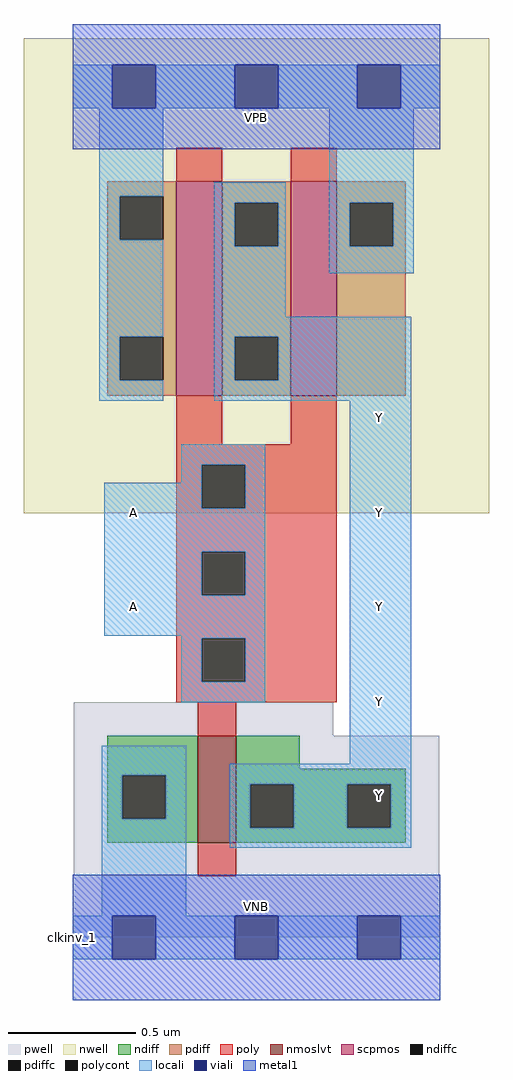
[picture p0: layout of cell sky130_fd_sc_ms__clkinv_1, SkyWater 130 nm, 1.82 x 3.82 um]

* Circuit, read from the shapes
.subckt sky130_fd_sc_ms__clkinv_1 A VGND VNB VPB VPWR Y
XM1 Y A VGND VNB sky130_fd_pr__nfet_01v8_lvt w=0.42 l=0.15
XM2 Y A VPWR VPB sky130_fd_pr__pfet_01v8 w=0.84 l=0.18 m=2
.ends

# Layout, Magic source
magic
tech sky130A
magscale 1 2
<< nwell >>
rect -38 332 326 704
<< pwell >>
rect 1 158 204 184
rect 1 49 287 158
rect 0 0 288 49
<< scpmos >>
rect 81 424 117 592
rect 171 424 207 592
<< nmoslvt >>
rect 98 74 128 158
<< ndiff >>
rect 27 127 98 158
rect 27 93 39 127
rect 73 93 98 127
rect 27 74 98 93
rect 128 132 178 158
rect 128 120 261 132
rect 128 86 139 120
rect 173 86 215 120
rect 249 86 261 120
rect 128 74 261 86
<< pdiff >>
rect 27 580 81 592
rect 27 546 37 580
rect 71 546 81 580
rect 27 470 81 546
rect 27 436 37 470
rect 71 436 81 470
rect 27 424 81 436
rect 117 575 171 592
rect 117 541 127 575
rect 161 541 171 575
rect 117 470 171 541
rect 117 436 127 470
rect 161 436 171 470
rect 117 424 171 436
rect 207 575 261 592
rect 207 541 217 575
rect 251 541 261 575
rect 207 424 261 541
<< ndiffc >>
rect 39 93 73 127
rect 139 86 173 120
rect 215 86 249 120
<< pdiffc >>
rect 37 546 71 580
rect 37 436 71 470
rect 127 541 161 575
rect 127 436 161 470
rect 217 541 251 575
<< poly >>
rect 81 592 117 618
rect 171 592 207 618
rect 81 386 117 424
rect 171 386 207 424
rect 81 370 207 386
rect 81 336 101 370
rect 135 336 207 370
rect 81 302 207 336
rect 81 268 101 302
rect 135 268 207 302
rect 81 234 207 268
rect 81 200 101 234
rect 135 200 207 234
rect 81 184 207 200
rect 98 158 128 184
rect 98 48 128 74
<< polycont >>
rect 101 336 135 370
rect 101 268 135 302
rect 101 200 135 234
<< locali >>
rect 0 649 31 683
rect 65 649 127 683
rect 161 649 223 683
rect 257 649 288 683
rect 21 580 71 649
rect 21 546 37 580
rect 21 470 71 546
rect 21 436 37 470
rect 21 420 71 436
rect 111 575 167 591
rect 111 541 127 575
rect 161 541 167 575
rect 111 486 167 541
rect 201 575 267 649
rect 201 541 217 575
rect 251 541 267 575
rect 201 520 267 541
rect 111 470 265 486
rect 111 436 127 470
rect 161 436 265 470
rect 111 420 265 436
rect 85 370 151 386
rect 85 356 101 370
rect 25 336 101 356
rect 135 336 151 370
rect 25 302 151 336
rect 25 268 101 302
rect 135 268 151 302
rect 25 236 151 268
rect 85 234 151 236
rect 85 200 101 234
rect 135 200 151 234
rect 85 184 151 200
rect 23 127 89 150
rect 217 136 265 420
rect 23 93 39 127
rect 73 93 89 127
rect 23 17 89 93
rect 123 120 265 136
rect 123 86 139 120
rect 173 86 215 120
rect 249 86 265 120
rect 123 70 265 86
rect 0 -17 31 17
rect 65 -17 127 17
rect 161 -17 223 17
rect 257 -17 288 17
<< viali >>
rect 31 649 65 683
rect 127 649 161 683
rect 223 649 257 683
rect 31 -17 65 17
rect 127 -17 161 17
rect 223 -17 257 17
<< metal1 >>
rect 0 683 288 715
rect 0 649 31 683
rect 65 649 127 683
rect 161 649 223 683
rect 257 649 288 683
rect 0 617 288 649
rect 0 17 288 49
rect 0 -17 31 17
rect 65 -17 127 17
rect 161 -17 223 17
rect 257 -17 288 17
rect 0 -49 288 -17
<< labels >>
flabel pwell s 0 0 288 49 0 FreeSans 200 0 0 0 VNB
port 3 nsew ground bidirectional
flabel nwell s 0 617 288 666 0 FreeSans 200 0 0 0 VPB
port 4 nsew power bidirectional
rlabel comment s 0 0 0 0 4 clkinv_1
flabel metal1 s 0 617 288 666 0 FreeSans 340 0 0 0 VPWR
port 5 nsew power bidirectional
flabel metal1 s 0 0 288 49 0 FreeSans 340 0 0 0 VGND
port 2 nsew ground bidirectional
flabel locali s 31 242 65 276 0 FreeSans 340 0 0 0 A
port 1 nsew signal input
flabel locali s 31 316 65 350 0 FreeSans 340 0 0 0 A
port 1 nsew signal input
flabel locali s 223 94 257 128 0 FreeSans 340 0 0 0 Y
port 6 nsew signal output
flabel locali s 223 168 257 202 0 FreeSans 340 0 0 0 Y
port 6 nsew signal output
flabel locali s 223 242 257 276 0 FreeSans 340 0 0 0 Y
port 6 nsew signal output
flabel locali s 223 316 257 350 0 FreeSans 340 0 0 0 Y
port 6 nsew signal output
flabel locali s 223 390 257 424 0 FreeSans 340 0 0 0 Y
port 6 nsew signal output
<< properties >>
string LEFsite unit
string LEFclass CORE
string FIXED_BBOX 0 0 288 666
string GDS_FILE $PDKPATH/libs.ref/sky130_fd_sc_ms/gds/sky130_fd_sc_ms.gds
string LEFsymmetry X Y
string GDS_END 2685556
string GDS_START 2681620
<< end >>
